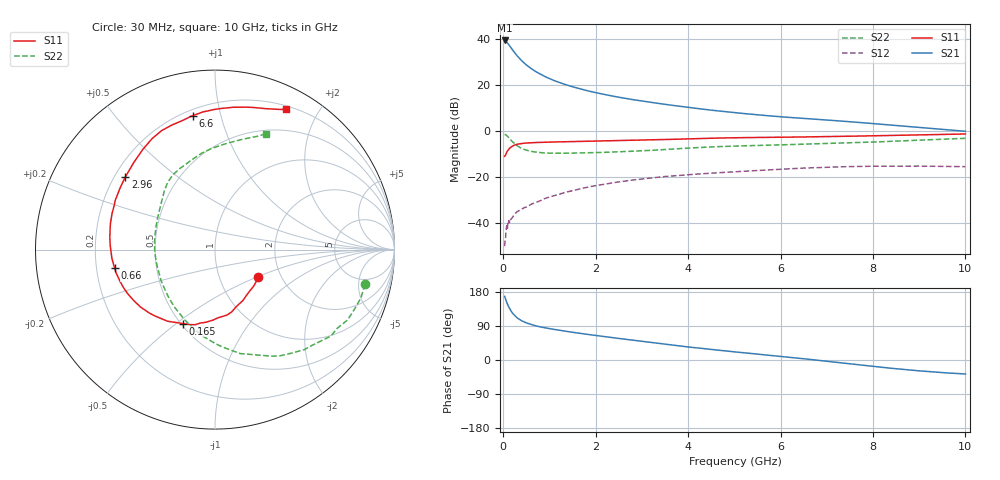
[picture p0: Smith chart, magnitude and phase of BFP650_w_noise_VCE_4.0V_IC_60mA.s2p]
! Infineon Technologies  Discrete & RF Semiconductors
! BFP650
! VCE =  4.0 V,  IC =  60 mA
! Common Emitter S-Parameters:  Jan 2016
# GHz  S  MA  R  50
!  f  S11  S21  S12  S22
! GHz  MAG  ANG  MAG  ANG  MAG  ANG  MAG  ANG
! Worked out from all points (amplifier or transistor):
!   229 points, 30 MHz to 10 GHz, reference 50 ohm
!   highest |S21| = 39.5 dB at 30 MHz (marker M1)
!   |S21| within 3 dB of that: start of sweep to 161.9 MHz
!   unconditionally stable (mu >= 1): 1.578 GHz to end of sweep
!   at 280 MHz: K = 0.55, MSG = 34.3 dB, |S12| = -35.3 dB
!   at 1.78 GHz: K = 1.01, MAG = 20.6 dB, |S12| = -24.5 dB
!   at 10 GHz: K = 1.03, MAG = 6.7 dB, |S12| = -15.3 dB
!   lowest NFmin = 1.07 dB at 450 MHz
!   S11 on the Smith chart (normalised r, x): 30 MHz: 1.53, -0.51; 165 MHz: 0.51, -0.53; 660 MHz: 0.28, -0.08; 2.96 GHz: 0.24, +0.34; 6.6 GHz: 0.24, +0.82; 10 GHz: 0.24, +1.60
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0.03  0.2863 -32.5  94.17 168.0  0.0032 60.3  0.8578 -13.0
0.05  0.3041 -52.3  91.14 160.6  0.0046 59.9  0.845 -23.2
0.065  0.3308 -65.7  89.09 155.9  0.0075 50.9  0.8222 -30.4
0.08  0.3599 -75.1  85.91 150.9  0.0089 69.8  0.8057 -36.7
0.1  0.3804 -87.5  81.31 145.1  0.0103 59.6  0.7588 -44.8
0.13  0.4177 -101.4  73.8 137.3  0.0113 60.6  0.7061 -55.8
0.165  0.4485 -113.2  66.01 130.5  0.0122 57.1  0.646 -65.9
0.2  0.479 -123.6  58.99 123.6  0.0135 55.7  0.5965 -76.3
0.24  0.499 -132.3  52.19 118.2  0.0155 54.6  0.5452 -85.4
0.3  0.5239 -142.3  43.82 111.3  0.0179 55.9  0.4878 -97.8
0.34  0.5324 -147.1  39.46 107.9  0.0189 53.8  0.4596 -104.2
0.46  0.5532 -158.3  30.05 99.9  0.0221 55.2  0.4022 -120.8
0.66  0.5686 -169.5  21.24 91.7  0.0273 56.0  0.3589 -140.2
1.1  0.5865 175.8  12.67 80.7  0.0401 57.0  0.3349 -166.4
1.7  0.6049 162.4  8.182 69.7  0.0576 54.0  0.3392 173.4
2.96  0.6426 141.0  4.615 49.9  0.0912 42.3  0.3757 146.0
3.4  0.659 134.4  3.984 43.4  0.1017 37.1  0.3966 139.1
5.1  0.7277 113.2  2.492 20.4  0.1336 20.0  0.4813 118.0
6.6  0.7568 99.2  1.88 2.1  0.1603 5.2  0.5293 101.0
6.8  0.7628 97.1  1.82 -0.5  0.1631 2.9  0.5359 99.3
8.4  0.8126 77.6  1.365 -21.9  0.1755 -14.8  0.6067 81.1
10  0.875 63.2  1.003 -36.9  0.1709 -27.5  0.7042 66.4
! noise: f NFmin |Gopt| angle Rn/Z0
0.45  1.07  0.44  -171  0.06
0.9  1.08  0.45  -165  0.06
1.9  1.23  0.48  -153  0.07
2.4  1.3  0.46  -142  0.09
3.5  1.52  0.48  -119  0.15
